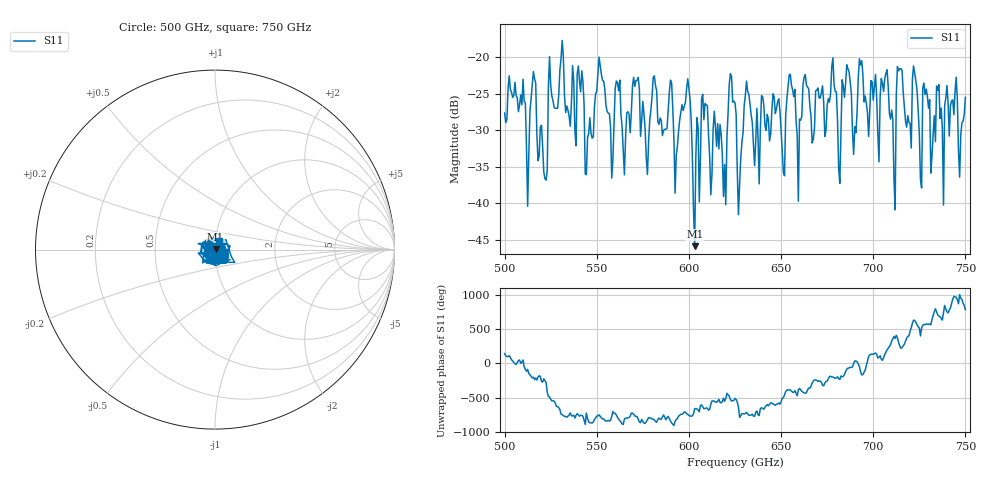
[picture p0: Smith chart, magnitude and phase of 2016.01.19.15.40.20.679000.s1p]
!Created with skrf (http://scikit-rf.org).
# GHz S RI R 50.0
!freq ReS11 ImS11
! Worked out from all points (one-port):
!   401 points, 500 GHz to 750 GHz, reference 50 ohm
!   lowest |S11| = -45.9 dB at 603.1 GHz (marker M1), VSWR 1.01, Z = 50.3 + j0.42 ohm
!   |S11| at or under -10 dB: start of sweep to end of sweep
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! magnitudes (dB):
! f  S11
! 500 GHz  -27.6
! 513.1 GHz  -33.4
! 515.6 GHz  -21.9
! 521.9 GHz  -36.6
! 525 GHz  -23.8
! 531.2 GHz  -17.7
! 545 GHz  -31.0
! 551.9 GHz  -21.1
! 558.1 GHz  -36.5
! 562.5 GHz  -23.1
! 593.8 GHz  -32.2
! 599.4 GHz  -22.9
! 603.1 GHz  -45.9
! 608.1 GHz  -28.6
! 618.8 GHz  -39.1
! 622.5 GHz  -22.2
! 625 GHz  -26.2
! 627.5 GHz  -37.3
! 631.2 GHz  -23.3
! 651.2 GHz  -35.8
! 656.2 GHz  -24.4
! 659.4 GHz  -39.7
! 663.1 GHz  -22.4
! 678.8 GHz  -23.7
! 681.2 GHz  -35.2
! 687.5 GHz  -23.3
! 718.8 GHz  -28.0
! 750 GHz  -25.5
